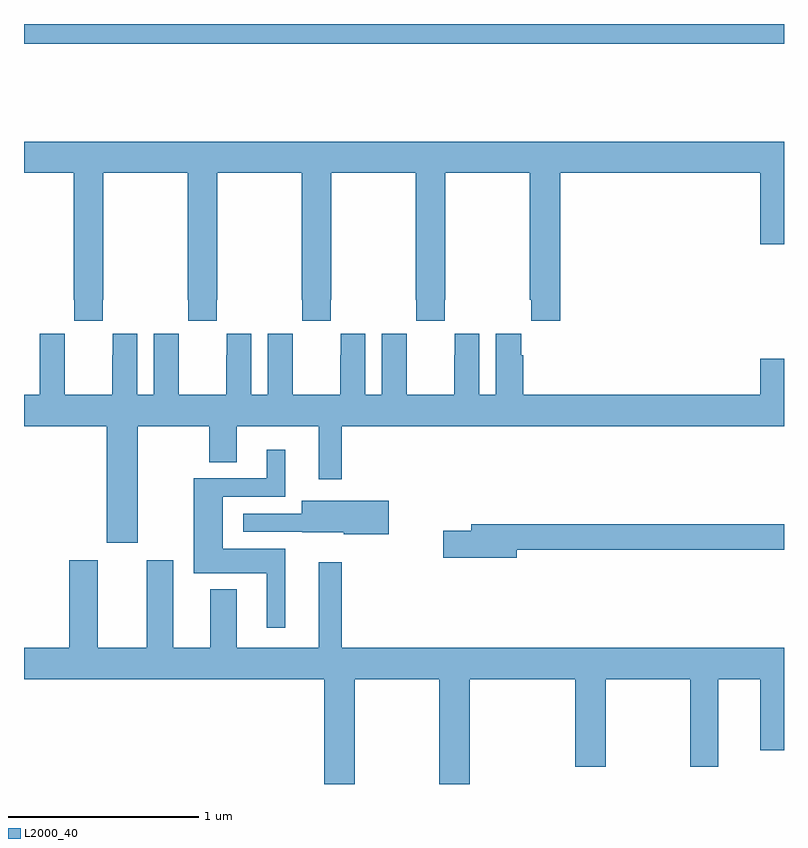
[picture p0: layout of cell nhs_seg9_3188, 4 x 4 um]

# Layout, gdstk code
import gdstk
lib = gdstk.Library(unit=1e-6, precision=1e-09)
def R(c, l, rs):  # rectangles x0, y0, x1, y1
    for r in rs: c.add(gdstk.rectangle(r[:2], r[2:], *l))
def P(c, l, *ps):  # polygons
    for p in ps: c.add(gdstk.Polygon(p, *l))
L2000_40 = (2000, 40)

nhs_seg9_3188 = lib.new_cell('nhs_seg9_3188')
R(nhs_seg9_3188, L2000_40, [(293,1234.396,297,1234.5)])
P(nhs_seg9_3188, L2000_40, [(293.415,1233.049),(293.418,1233.049),(293.418,1233.716),(293.863,1233.716),(293.863,1233.049),(293.865,1233.049),(293.865,1232.937),(294.015,1232.937),(294.015,1233.049),(294.018,1233.049),(294.018,1233.716),(294.463,1233.716),(294.463,1233.049),(294.465,1233.049),(294.465,1232.937),(294.615,1232.937),(294.615,1233.049),(294.618,1233.049),(294.618,1233.716),(295.063,1233.716),(295.063,1233.049),(295.065,1233.049),(295.065,1232.937),(295.215,1232.937),(295.215,1233.049),(295.218,1233.049),(295.218,1233.716),(295.663,1233.716),(295.663,1233.049),(295.669,1233.049),(295.669,1232.937),(295.823,1232.937),(295.823,1233.716),(296.876,1233.716),(296.876,1233.342),(297,1233.342),(297,1233.88),(293,1233.88),(293,1233.716),(293.263,1233.716),(293.263,1233.049),(293.265,1233.049),(293.265,1232.937),(293.415,1232.937)],
  [(297,1232.737),(296.876,1232.737),(296.876,1232.548),(295.628,1232.548),(295.628,1232.756),(295.618,1232.756),(295.618,1232.869),(295.484,1232.869),(295.484,1232.548),(295.396,1232.548),(295.396,1232.869),(295.266,1232.869),(295.266,1232.756),(295.265,1232.756),(295.265,1232.548),(295.015,1232.548),(295.015,1232.756),(295.014,1232.756),(295.014,1232.869),(294.884,1232.869),(294.884,1232.548),(294.796,1232.548),(294.796,1232.869),(294.666,1232.869),(294.666,1232.756),(294.665,1232.756),(294.665,1232.548),(294.415,1232.548),(294.415,1232.756),(294.414,1232.756),(294.414,1232.869),(294.284,1232.869),(294.284,1232.548),(294.196,1232.548),(294.196,1232.869),(294.066,1232.869),(294.066,1232.756),(294.065,1232.756),(294.065,1232.548),(293.815,1232.548),(293.815,1232.756),(293.814,1232.756),(293.814,1232.869),(293.684,1232.869),(293.684,1232.548),(293.596,1232.548),(293.596,1232.869),(293.466,1232.869),(293.466,1232.756),(293.465,1232.756),(293.465,1232.548),(293.215,1232.548),(293.215,1232.756),(293.214,1232.756),(293.214,1232.869),(293.084,1232.869),(293.084,1232.548),(293,1232.548),(293,1232.384),(293.435,1232.384),(293.435,1231.77),(293.599,1231.77),(293.599,1232.384),(293.974,1232.384),(293.974,1232.194),(294.121,1232.194),(294.121,1232.384),(294.551,1232.384),(294.551,1232.103),(294.673,1232.103),(294.673,1232.384),(297,1232.384)],
  [(294.376,1231.738),(294.046,1231.738),(294.046,1232.013),(294.376,1232.013),(294.376,1232.26),(294.278,1232.26),(294.278,1232.109),(293.893,1232.109),(293.893,1231.61),(294.278,1231.61),(294.278,1231.323),(294.376,1231.323)],
  [(294.919,1231.992),(294.461,1231.992),(294.461,1231.923),(294.153,1231.923),(294.153,1231.827),(294.465,1231.827),(294.465,1231.826),(294.684,1231.826),(294.684,1231.814),(294.919,1231.814)],
  [(295.594,1231.732),(297,1231.732),(297,1231.868),(295.355,1231.868),(295.355,1231.832),(295.206,1231.832),(295.206,1231.69),(295.594,1231.69)],
  [(294.741,1231.052),(295.186,1231.052),(295.186,1230.5),(295.346,1230.5),(295.346,1231.052),(295.901,1231.052),(295.901,1230.591),(296.061,1230.591),(296.061,1231.052),(296.506,1231.052),(296.506,1230.591),(296.653,1230.591),(296.653,1231.052),(296.876,1231.052),(296.876,1230.678),(297,1230.678),(297,1231.216),(294.673,1231.216),(294.673,1231.666),(294.551,1231.666),(294.551,1231.216),(294.121,1231.216),(294.121,1231.525),(293.981,1231.525),(293.981,1231.216),(293.785,1231.216),(293.785,1231.678),(293.645,1231.678),(293.645,1231.216),(293.389,1231.216),(293.389,1231.678),(293.237,1231.678),(293.237,1231.216),(293,1231.216),(293,1231.052),(294.581,1231.052),(294.581,1230.5),(294.741,1230.5)])

lib.write_gds('nhs_seg9_3188.gds')
